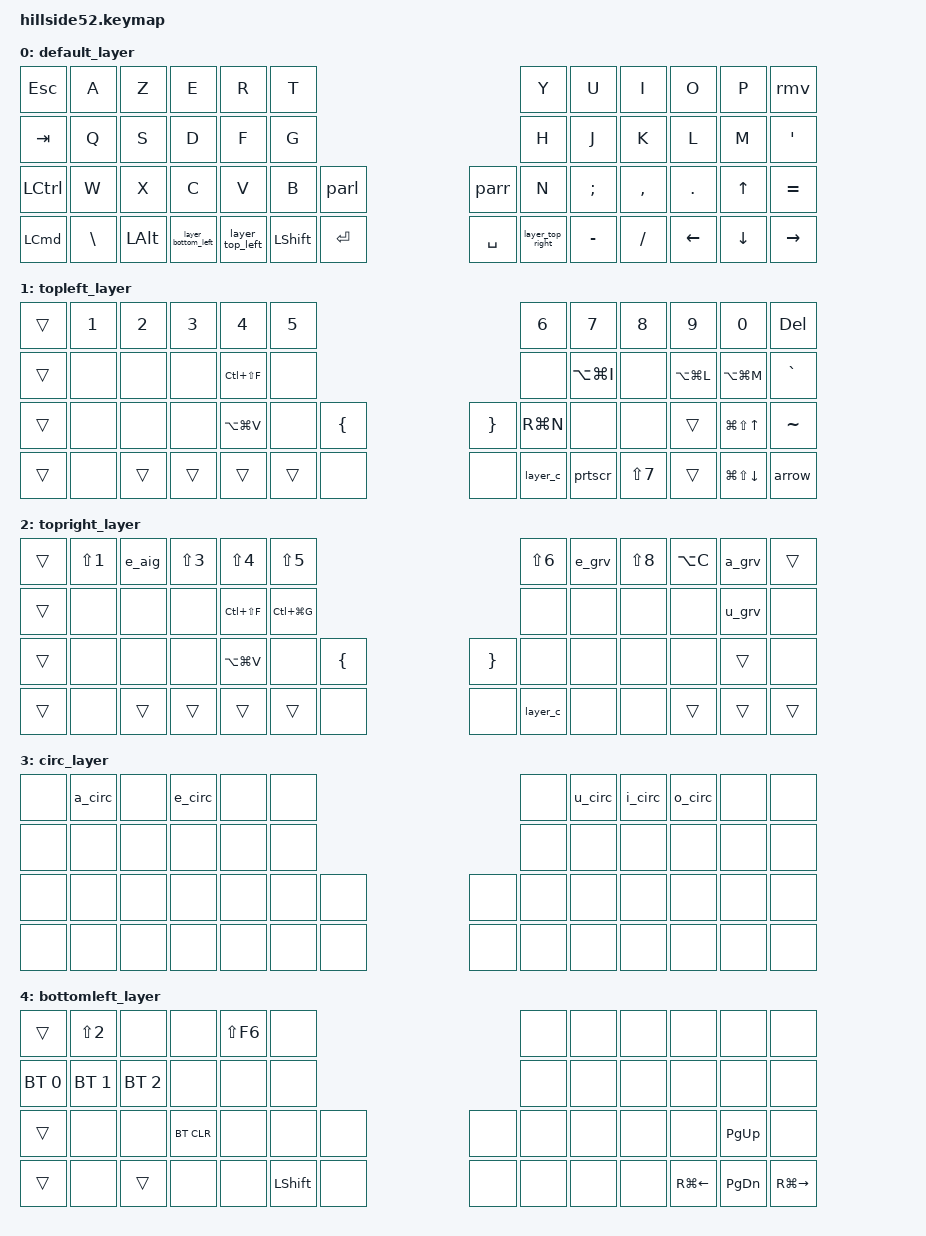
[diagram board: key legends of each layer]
/*
 * Copyright (c) 2021-2022 The ZMK Contributors
 *
 * SPDX-License-Identifier: MIT
 */

#include <behaviors.dtsi>
#include <dt-bindings/zmk/bt.h>
#include <dt-bindings/zmk/ext_power.h>
#include <dt-bindings/zmk/keys.h>
#include <dt-bindings/zmk/outputs.h>


/ {

chosen {
      zmk,battery = &vbatt;
    };

vbatt: vbatt {
    compatible = "zmk,battery-nrf-vddh";
    label = "VBATT";
};

macros {

    layer_top_left: layer_top_left {
	    label = "layer top left";
	    compatible = "zmk,behavior-macro";
	    #binding-cells = <0>;
	    wait-ms = <0>;
	    tap-ms = <0>;
	    bindings
		= <&macro_press &mo 1>
		, <&macro_pause_for_release>
		, <&macro_release &mo 1>
		;
	};
	
	layer_top_right: layer_top_right {
	    label = "layer top right";
	    compatible = "zmk,behavior-macro";
	    #binding-cells = <0>;
	    wait-ms = <0>;
	    tap-ms = <0>;
	    bindings
		= <&macro_press &mo 2>		
		, <&macro_pause_for_release>
		, <&macro_release &mo 2>
		;
	};

    layer_c: layer_c {
	    label = "layer c";
	    compatible = "zmk,behavior-macro";
	    #binding-cells = <0>;
	    wait-ms = <0>;
	    tap-ms = <0>;
	    bindings
		= <&macro_press &sl 3>		
		, <&macro_pause_for_release>
		, <&macro_release &sl 3>
		;
	};

    layer_bottom_left: layer_bottom_left {
	    label = "layer bottom left";
	    compatible = "zmk,behavior-macro";
	    #binding-cells = <0>;
	    wait-ms = <0>;
	    tap-ms = <0>;
	    bindings
		= <&macro_press &mo 4>
		, <&macro_pause_for_release>
		, <&macro_release &mo 4>
		;
	};

    e_aig: e_aig {
        label = "e aigu";
	    tap-ms = <50>;
        compatible = "zmk,behavior-macro";
        #binding-cells = <0>;
        bindings
        = <&macro_tap &kp LA(E)>
        , <&macro_tap &kp E>
        ;
    };
	
	a_grv: a_grv {
        label = "a grave";
	    tap-ms = <50>;
        compatible = "zmk,behavior-macro";
        #binding-cells = <0>;
        bindings
        = <&macro_tap &kp LA(GRAVE)>
        , <&macro_tap &kp A>
        ;
    };
	
	a_circ: a_circ {
        label = "a circ";
	    tap-ms = <50>;
        compatible = "zmk,behavior-macro";
        #binding-cells = <0>;
        bindings
        = <&macro_tap &kp LA(I)>
        , <&macro_tap &kp A>
        ;
    };

    e_grv: e_grv {
        label = "e grave";
	    tap-ms = <50>;
        compatible = "zmk,behavior-macro";
        #binding-cells = <0>;
        bindings
        = <&macro_tap &kp LA(GRAVE)>
        , <&macro_tap &kp E>
        ;
    };

    c_ced: c_ced {
        label = "c ced";
	    tap-ms = <50>;
        compatible = "zmk,behavior-macro";
        #binding-cells = <0>;
        bindings
        = <&macro_tap &kp LA(C)>
        ;
    };
	
	e_circ: e_circ {
        label = "e circ";
	    tap-ms = <50>;
        compatible = "zmk,behavior-macro";
        #binding-cells = <0>;
        bindings
        = <&macro_tap &kp LA(I)>
        , <&macro_tap &kp E>
        ;
    };
	
	u_grv: u_grv {
        label = "u grave";
	    tap-ms = <50>;
        compatible = "zmk,behavior-macro";
        #binding-cells = <0>;
        bindings
        = <&macro_tap &kp LA(GRAVE)>
        , <&macro_tap &kp U>
        ;
    };
	
	u_circ: u_circ {
        label = "u circ";
	    tap-ms = <50>;
        compatible = "zmk,behavior-macro";
        #binding-cells = <0>;
        bindings
        = <&macro_tap &kp LA(I)>
        , <&macro_tap &kp U>
        ;
    };

    o_circ: o_circ {
        label = "o circ";
	    tap-ms = <50>;
        compatible = "zmk,behavior-macro";
        #binding-cells = <0>;
        bindings
        = <&macro_tap &kp LA(I)>
        , <&macro_tap &kp O>
        ;
    };
	
	i_circ: i_circ {
        label = "i circ";
	    tap-ms = <50>;
        compatible = "zmk,behavior-macro";
        #binding-cells = <0>;
        bindings
        = <&macro_tap &kp LA(I)>
        , <&macro_tap &kp I>
        ;
    };

    arrow: arrow {
        label = "arrow";
	    tap-ms = <50>;
        compatible = "zmk,behavior-macro";
        #binding-cells = <0>;
        bindings
        = <&macro_tap &kp MINUS>
        , <&macro_tap &kp LS(DOT)>
        ;
    };

    prtscr: prtscr {
        label = "prtscr";
        tap-ms = <50>;
        compatible = "zmk,behavior-macro";
        #binding-cells = <0>;
        bindings
        = <&macro_press &kp LCMD>
        , <&macro_press &kp LS(N4)>
        , <&macro_pause_for_release>
        , <&macro_release &kp LS(N4)>
        , <&macro_release &kp LCMD>
        ;
    };
};

behaviors {

    parl: parenthese_crochet_open {
        label = "parl";
        compatible = "zmk,behavior-mod-morph";
        #binding-cells = <0>;
        bindings
        = <&kp LS(N9)>
        , <&kp LBKT>
        ;
        mods = <(MOD_LSFT)>;
    };

    parr: parenthese_crochet_close {
        label = "parr";
        compatible = "zmk,behavior-mod-morph";
        #binding-cells = <0>;
        bindings
        = <&kp LS(N0)>
        , <&kp RBKT>
        ;
        mods = <(MOD_LSFT)>;
    };

    rmv: backspace_delete {
        label = "rmv";
        compatible = "zmk,behavior-mod-morph";
        #binding-cells = <0>;
        bindings
        = <&kp BSPC>
        , <&kp DELETE>
        ;
        mods = <(MOD_LSFT)>;
    };

};

        keymap {
                compatible = "zmk,keymap";



                default_layer {
                        bindings = <
&kp  ESC    &kp  A          &kp  Z        &kp  E        &kp  R                  &kp  T                                                                                                &kp  Y        &kp  U            &kp  I        &kp  O         &kp  P                 &rmv
&kp  TAB    &kp  Q          &kp  S        &kp  D        &kp  F                  &kp  G                                                                                                &kp  H        &kp  J            &kp  K        &kp  L         &kp  M                 &kp  APOSTROPHE
&kp  LCTRL  &kp  W          &kp  X        &kp  C        &kp  V                  &kp  B               &parl                                                 &parr                 &kp  N        &kp  SEMICOLON    &kp  COMMA    &kp  DOT       &kp  UP                &kp  EQUAL
&kp  LCMD   &kp  BACKSLASH  &kp  LALT                   &layer_bottom_left      &layer_top_left      &kp LSHIFT       &kp  ENTER            &kp  SPACE        &layer_top_right      &kp  MINUS    &kp  SLASH                      &kp  LEFT      &kp  DOWN              &kp  RIGHT
                        >;
			
                };

                topleft_layer {
                        bindings = <
&trans      &kp  N1         &kp  N2       &kp  N3      &kp  N4                  &kp  N5                                                                                               &kp  N6       &kp  N7           &kp  N8       &kp  N9         &kp  N0                &kp  DELETE
&trans      &none           &none         &none        &kp  LC(LS(F))           &none                                                                                                 &none         &kp LA(LG(I))     &none         &kp LA(LG(L))   &kp LA(LG(M))          &kp  GRAVE
&trans      &none           &none         &none        &kp  LA(LG(V))           &none                &kp LBRC                                                   &kp RBRC              &kp RG(N)     &none             &none         &trans          &kp LG(LS(UP))         &kp  TILDE
&trans      &none           &trans                     &trans                   &trans               &trans             &none                 &none             &layer_c              &prtscr       &kp LS(N7)                      &trans          &kp LG(LS(DOWN))       &arrow
                        >;			
                };

                topright_layer {
                        bindings = <
&trans      &kp  LS(N1)     &e_aig        &kp  LS(N3)  &kp  LS(N4)             &kp  LS(N5)                                                                                           &kp  LS(N6)    &e_grv           &kp LS(N8)     &kp  LA(C)     &a_grv                 &trans
&trans      &none           &none         &none        &kp  LC(LS(F))          &kp  LC(LG(G))                                                                                        &none          &none            &none          &none          &u_grv                 &none
&trans      &none           &none         &none        &kp  LA(LG(V))          &none                 &kp LBRC                                                   &kp RBRC             &none          &none            &none          &none          &trans                 &none
&trans      &none           &trans                     &trans                  &trans                &trans             &none                 &none             &layer_c             &none          &none                           &trans         &trans                 &trans
                        >;
                };

                circ_layer {
                        bindings = <
&none      &a_circ     &none       &e_circ     &none       &none                                                                &none      &u_circ    &i_circ      &o_circ    &none       &none
&none      &none       &none       &none       &none       &none                                                                &none      &none      &none        &none      &none       &none
&none      &none       &none       &none       &none       &none       &none                                         &none      &none      &none      &none        &none      &none       &none
&none      &none       &none                   &none       &none       &none        &none                 &none      &none      &none      &none                   &none      &none       &none
                        >;
                };

		bottomleft_layer {
                        bindings = <  
&trans         &kp LS(N2)            &none              &none                 &kp LS(F6)       &none                                                                                    &none            &none                  &none               &none             &none             &none
&bt BT_SEL 0   &bt BT_SEL 1          &bt BT_SEL 2       &none                 &none            &none                                                                                    &none            &none                  &none               &none             &none             &none
&trans         &none                 &none              &bt BT_CLR            &none            &none          &none                                                     &none           &none            &none                  &none               &none             &kp PG_UP         &none
&trans         &none                 &trans                                   &none            &none          &kp LSHIFT        &none                  &none            &none           &none            &none                                      &kp RG(LEFT)      &kp PG_DN         &kp RG(RIGHT)
                        >;
                };


        };
};
